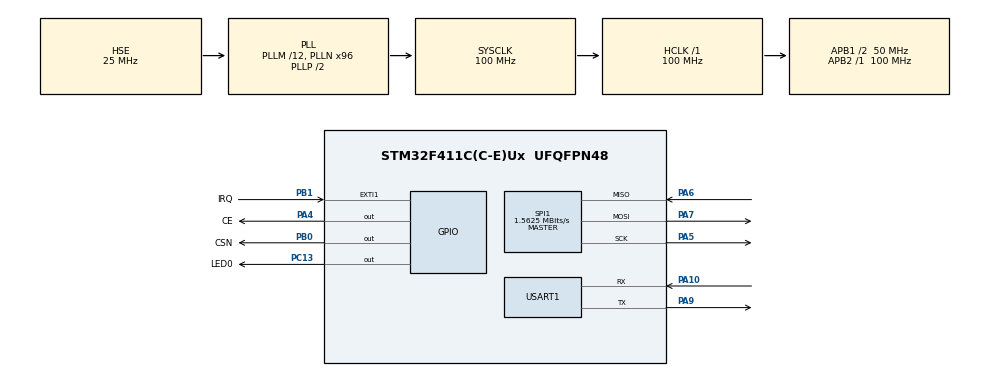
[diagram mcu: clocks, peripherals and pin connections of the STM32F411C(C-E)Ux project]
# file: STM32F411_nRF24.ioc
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Mcu.Family=STM32F4
Mcu.Name=STM32F411C(C-E)Ux
Mcu.Package=UFQFPN48
NVIC.PriorityGroup=NVIC_PRIORITYGROUP_4
NVIC.USART1_IRQn=true\:0\:0\:false\:false\:true\:true\:true\:true
PA10.Mode=Asynchronous
PA10.Signal=USART1_RX
PA13.Mode=Serial_Wire
PA13.Signal=SYS_JTMS-SWDIO
PA14.Mode=Serial_Wire
PA14.Signal=SYS_JTCK-SWCLK
PA4.GPIO_Label=CE
PA4.Signal=GPIO_Output
PA5.Mode=Full_Duplex_Master
PA5.Signal=SPI1_SCK
PA6.Mode=Full_Duplex_Master
PA6.Signal=SPI1_MISO
PA7.Mode=Full_Duplex_Master
PA7.Signal=SPI1_MOSI
PA9.Mode=Asynchronous
PA9.Signal=USART1_TX
PB0.GPIO_Label=CSN
PB0.Signal=GPIO_Output
PB1.GPIO_Label=IRQ
PB1.Signal=GPXTI1
PC13-ANTI_TAMP.GPIO_Label=LED0
PC13-ANTI_TAMP.Signal=GPIO_Output
PH0\ -\ OSC_IN.Mode=HSE-External-Oscillator
PH0\ -\ OSC_IN.Signal=RCC_OSC_IN
PH1\ -\ OSC_OUT.Mode=HSE-External-Oscillator
PH1\ -\ OSC_OUT.Signal=RCC_OSC_OUT
ProjectManager.HeapSize=0x200
ProjectManager.StackSize=0x400
ProjectManager.TargetToolchain=STM32CubeIDE
RCC.48MHZClocksFreq_Value=50000000
RCC.AHBFreq_Value=100000000
RCC.APB1CLKDivider=RCC_HCLK_DIV2
RCC.APB1Freq_Value=50000000
RCC.APB1TimFreq_Value=100000000
RCC.APB2Freq_Value=100000000
RCC.APB2TimFreq_Value=100000000
RCC.CortexFreq_Value=100000000
RCC.HCLKFreq_Value=100000000
RCC.HSE_VALUE=25000000
RCC.HSI_VALUE=16000000
RCC.LSE_VALUE=32768
RCC.PLLM=12
RCC.PLLN=96
RCC.PLLSourceVirtual=RCC_PLLSOURCE_HSE
RCC.SYSCLKFreq_VALUE=100000000
RCC.SYSCLKSource=RCC_SYSCLKSOURCE_PLLCLK
RCC.VCOOutputFreq_Value=200000000
SPI1.BaudRatePrescaler=SPI_BAUDRATEPRESCALER_64
SPI1.CalculateBaudRate=1.5625 MBits/s
SPI1.Direction=SPI_DIRECTION_2LINES
SPI1.Mode=SPI_MODE_MASTER
SPI1.VirtualType=VM_MASTER
TIM3.AutoReloadPreload=TIM_AUTORELOAD_PRELOAD_DISABLE
TIM3.CounterMode=TIM_COUNTERMODE_UP
TIM3.Prescaler=100-1
USART1.VirtualMode=VM_ASYNC
VP_TIM3_VS_ClockSourceINT.Mode=Internal
board=custom

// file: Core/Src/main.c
/* USER CODE BEGIN Header */
/**
  ******************************************************************************
  * @file           : main.c
  * @brief          : Main program body
  ******************************************************************************
  * @attention
  *
  * Copyright (c) 2023 STMicroelectronics.
  * All rights reserved.
  *
  * This software is licensed under terms that can be found in the LICENSE file
  * in the root directory of this software component.
  * If no LICENSE file comes with this software, it is provided AS-IS.
  *
  ******************************************************************************
  */
/* USER CODE END Header */
#include "main.h"

/* USER CODE BEGIN Includes */
#include <stdio.h>
#include "string.h"
#include "nRF24.h"

/* USER CODE END Includes */

/* USER CODE BEGIN PM */
#define PAYLOAD_SIZE 32
/* USER CODE END PM */

SPI_HandleTypeDef hspi1;

TIM_HandleTypeDef htim3;

UART_HandleTypeDef huart1;

/* USER CODE BEGIN PV */
bool TX_DataRdy = false;
/* USER CODE END PV */

void SystemClock_Config(void);
static void MX_GPIO_Init(void);
static void MX_USART1_UART_Init(void);
static void MX_SPI1_Init(void);
static void MX_TIM3_Init(void);
/* USER CODE BEGIN PFP */
#ifdef __GNUC__
#define PUTCHAR_PROTOTYPE int __io_putchar(int ch)
#else
#define PUTCHAR_PROTOTYPE int fputc(int ch, FILE *f)
#endif
PUTCHAR_PROTOTYPE
{
  HAL_UART_Transmit(&huart1, (uint8_t *)&ch, 1, 100);
  return ch;
}

uint8_t RxData[32] = {0x00};
uint8_t rxcount = 0, rxBuf = {0x00};

void HAL_UART_RxCpltCallback(UART_HandleTypeDef *huart)
{
	  if ((rxBuf == '\n') || (rxcount >= 32)) //keep filling the RxData buffer until carriage return
	  {
		  TX_DataRdy = true; //Let the main loop know data is ready for transmit
		  rxcount = 0;
	  }
	  else
	  {
		  RxData[rxcount++] = rxBuf;
	  }
	  HAL_UART_Receive_IT(&huart1, &rxBuf, 1);
}

//To get microsecond delays for the nRF24 module
void Delay_us(uint16_t us)
{
	__HAL_TIM_SET_COUNTER(&htim3,0);
	while (__HAL_TIM_GET_COUNTER(&htim3) < us);
}

/* USER CODE END PFP */

int main(void)
{

  /* MCU Configuration--------------------------------------------------------*/

  /* Reset of all peripherals, Initializes the Flash interface and the Systick. */
  HAL_Init();

  /* Configure the system clock */
  SystemClock_Config();

  /* Initialize all configured peripherals */
  MX_GPIO_Init();
  MX_USART1_UART_Init();
  MX_SPI1_Init();
  MX_TIM3_Init();

  /* Infinite loop */
  /* USER CODE BEGIN WHILE */

  HAL_UART_Receive_IT(&huart1, &rxBuf, 1);
  HAL_TIM_Base_Start(&htim3);

  nRF24Def hNRF;
  hNRF.spi = &hspi1;
  hNRF.CE_Port = CE_GPIO_Port;
  hNRF.CEn_Pin = CE_Pin;
  hNRF.CSn_Port = CSN_GPIO_Port;
  hNRF.CSn_Pin = CSN_Pin;
  hNRF.payloadsize =  PAYLOAD_SIZE;

  char RX_Buffer[PAYLOAD_SIZE] = {0};
  NRF_Init(&hNRF);
  NRF_Config("link1", 120, PAYLOAD_SIZE); //PipeName, Channel, Payload Size

  printf("Application started...\r\n");

  while (1)
  {
	  NRF_RX_Mode();
	  if(NRF_Data_Available())
	  {
		  NRF_ReadData(RX_Buffer);
		  printf("\r\nRX :%s \r\n",RX_Buffer);
		  memset(RX_Buffer, 0x00, 32);
	  }
	  if(TX_DataRdy)
	  {
		  NRF_Transmit((char *)RxData);
		  NRF_TX_Mode();
		  printf("TX :%s \r\n",RxData);

		  TX_DataRdy = false;
		  memset(RxData, 0x00, 32);
	  }

	  HAL_GPIO_TogglePin(LED0_GPIO_Port, LED0_Pin);
	  HAL_Delay(10);

    /* USER CODE END WHILE */

  }
}

void SystemClock_Config(void)
{
  RCC_OscInitTypeDef RCC_OscInitStruct = {0};
  RCC_ClkInitTypeDef RCC_ClkInitStruct = {0};

  /** Configure the main internal regulator output voltage
  */
  __HAL_RCC_PWR_CLK_ENABLE();
  __HAL_PWR_VOLTAGESCALING_CONFIG(PWR_REGULATOR_VOLTAGE_SCALE1);

  /** Initializes the RCC Oscillators according to the specified parameters
  * in the RCC_OscInitTypeDef structure.
  */
  RCC_OscInitStruct.OscillatorType = RCC_OSCILLATORTYPE_HSE;
  RCC_OscInitStruct.HSEState = RCC_HSE_ON;
  RCC_OscInitStruct.PLL.PLLState = RCC_PLL_ON;
  RCC_OscInitStruct.PLL.PLLSource = RCC_PLLSOURCE_HSE;
  RCC_OscInitStruct.PLL.PLLM = 12;
  RCC_OscInitStruct.PLL.PLLN = 96;
  RCC_OscInitStruct.PLL.PLLP = RCC_PLLP_DIV2;
  RCC_OscInitStruct.PLL.PLLQ = 4;
  if (HAL_RCC_OscConfig(&RCC_OscInitStruct) != HAL_OK)
  {
    Error_Handler();
  }

  /** Initializes the CPU, AHB and APB buses clocks
  */
  RCC_ClkInitStruct.ClockType = RCC_CLOCKTYPE_HCLK|RCC_CLOCKTYPE_SYSCLK
                              |RCC_CLOCKTYPE_PCLK1|RCC_CLOCKTYPE_PCLK2;
  RCC_ClkInitStruct.SYSCLKSource = RCC_SYSCLKSOURCE_PLLCLK;
  RCC_ClkInitStruct.AHBCLKDivider = RCC_SYSCLK_DIV1;
  RCC_ClkInitStruct.APB1CLKDivider = RCC_HCLK_DIV2;
  RCC_ClkInitStruct.APB2CLKDivider = RCC_HCLK_DIV1;

  if (HAL_RCC_ClockConfig(&RCC_ClkInitStruct, FLASH_LATENCY_3) != HAL_OK)
  {
    Error_Handler();
  }
}

static void MX_SPI1_Init(void)
{

  /* SPI1 parameter configuration*/
  hspi1.Instance = SPI1;
  hspi1.Init.Mode = SPI_MODE_MASTER;
  hspi1.Init.Direction = SPI_DIRECTION_2LINES;
  hspi1.Init.DataSize = SPI_DATASIZE_8BIT;
  hspi1.Init.CLKPolarity = SPI_POLARITY_LOW;
  hspi1.Init.CLKPhase = SPI_PHASE_1EDGE;
  hspi1.Init.NSS = SPI_NSS_SOFT;
  hspi1.Init.BaudRatePrescaler = SPI_BAUDRATEPRESCALER_64;
  hspi1.Init.FirstBit = SPI_FIRSTBIT_MSB;
  hspi1.Init.TIMode = SPI_TIMODE_DISABLE;
  hspi1.Init.CRCCalculation = SPI_CRCCALCULATION_DISABLE;
  hspi1.Init.CRCPolynomial = 10;
  if (HAL_SPI_Init(&hspi1) != HAL_OK)
  {
    Error_Handler();
  }

}

static void MX_TIM3_Init(void)
{

  TIM_ClockConfigTypeDef sClockSourceConfig = {0};
  TIM_MasterConfigTypeDef sMasterConfig = {0};

  htim3.Instance = TIM3;
  htim3.Init.Prescaler = 100-1;
  htim3.Init.CounterMode = TIM_COUNTERMODE_UP;
  htim3.Init.Period = 65535;
  htim3.Init.ClockDivision = TIM_CLOCKDIVISION_DIV1;
  htim3.Init.AutoReloadPreload = TIM_AUTORELOAD_PRELOAD_DISABLE;
  if (HAL_TIM_Base_Init(&htim3) != HAL_OK)
  {
    Error_Handler();
  }
  sClockSourceConfig.ClockSource = TIM_CLOCKSOURCE_INTERNAL;
  if (HAL_TIM_ConfigClockSource(&htim3, &sClockSourceConfig) != HAL_OK)
  {
    Error_Handler();
  }
  sMasterConfig.MasterOutputTrigger = TIM_TRGO_RESET;
  sMasterConfig.MasterSlaveMode = TIM_MASTERSLAVEMODE_DISABLE;
  if (HAL_TIMEx_MasterConfigSynchronization(&htim3, &sMasterConfig) != HAL_OK)
  {
    Error_Handler();
  }

}

static void MX_USART1_UART_Init(void)
{

  huart1.Instance = USART1;
  huart1.Init.BaudRate = 115200;
  huart1.Init.WordLength = UART_WORDLENGTH_8B;
  huart1.Init.StopBits = UART_STOPBITS_1;
  huart1.Init.Parity = UART_PARITY_NONE;
  huart1.Init.Mode = UART_MODE_TX_RX;
  huart1.Init.HwFlowCtl = UART_HWCONTROL_NONE;
  huart1.Init.OverSampling = UART_OVERSAMPLING_16;
  if (HAL_UART_Init(&huart1) != HAL_OK)
  {
    Error_Handler();
  }

}

static void MX_GPIO_Init(void)
{
  GPIO_InitTypeDef GPIO_InitStruct = {0};

  /* GPIO Ports Clock Enable */
  __HAL_RCC_GPIOC_CLK_ENABLE();
  __HAL_RCC_GPIOH_CLK_ENABLE();
  __HAL_RCC_GPIOA_CLK_ENABLE();
  __HAL_RCC_GPIOB_CLK_ENABLE();

  /*Configure GPIO pin Output Level */
  HAL_GPIO_WritePin(LED0_GPIO_Port, LED0_Pin, GPIO_PIN_RESET);

  /*Configure GPIO pin Output Level */
  HAL_GPIO_WritePin(CE_GPIO_Port, CE_Pin, GPIO_PIN_RESET);

  /*Configure GPIO pin Output Level */
  HAL_GPIO_WritePin(CSN_GPIO_Port, CSN_Pin, GPIO_PIN_RESET);

  /*Configure GPIO pin : LED0_Pin */
  GPIO_InitStruct.Pin = LED0_Pin;
  GPIO_InitStruct.Mode = GPIO_MODE_OUTPUT_PP;
  GPIO_InitStruct.Pull = GPIO_NOPULL;
  GPIO_InitStruct.Speed = GPIO_SPEED_FREQ_LOW;
  HAL_GPIO_Init(LED0_GPIO_Port, &GPIO_InitStruct);

  /*Configure GPIO pin : CE_Pin */
  GPIO_InitStruct.Pin = CE_Pin;
  GPIO_InitStruct.Mode = GPIO_MODE_OUTPUT_PP;
  GPIO_InitStruct.Pull = GPIO_NOPULL;
  GPIO_InitStruct.Speed = GPIO_SPEED_FREQ_LOW;
  HAL_GPIO_Init(CE_GPIO_Port, &GPIO_InitStruct);

  /*Configure GPIO pin : CSN_Pin */
  GPIO_InitStruct.Pin = CSN_Pin;
  GPIO_InitStruct.Mode = GPIO_MODE_OUTPUT_PP;
  GPIO_InitStruct.Pull = GPIO_NOPULL;
  GPIO_InitStruct.Speed = GPIO_SPEED_FREQ_LOW;
  HAL_GPIO_Init(CSN_GPIO_Port, &GPIO_InitStruct);

  /*Configure GPIO pin : IRQ_Pin */
  GPIO_InitStruct.Pin = IRQ_Pin;
  GPIO_InitStruct.Mode = GPIO_MODE_IT_RISING;
  GPIO_InitStruct.Pull = GPIO_NOPULL;
  HAL_GPIO_Init(IRQ_GPIO_Port, &GPIO_InitStruct);

}

void Error_Handler(void)
{
  __disable_irq();
  while (1)
  {
  }
}
